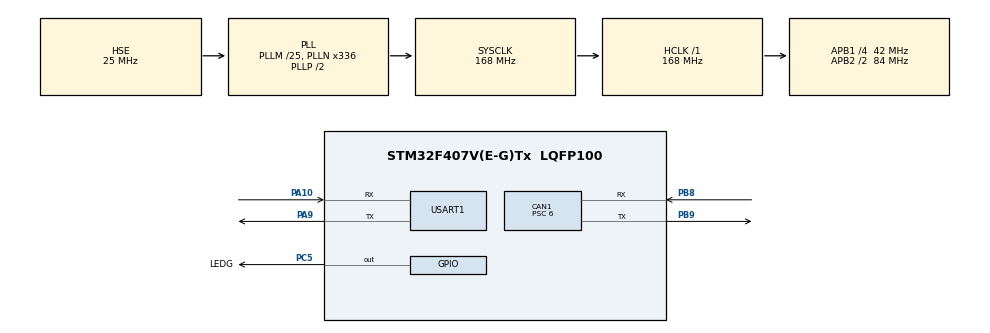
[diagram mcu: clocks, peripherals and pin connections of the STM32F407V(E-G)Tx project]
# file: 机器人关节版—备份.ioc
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CAN1.BS1=CAN_BS1_11TQ
CAN1.BS2=CAN_BS2_2TQ
CAN1.CalculateBaudRate=500000
CAN1.CalculateTimeBit=2000
CAN1.CalculateTimeQuantum=142.85714285714286
CAN1.Mode=CAN_MODE_NORMAL
CAN1.NART=ENABLE
CAN1.Prescaler=6
CAN1.TXFP=ENABLE
FREERTOS.Mutexes01=UartMutex,Dynamic,NULL,Available
FREERTOS.Queues01=MotionQueue,5,uint16_t,0,Dynamic,NULL,NULL;CanQueue,20,uint16_t,0,Dynamic,NULL,NULL
FREERTOS.Tasks01=defaultTask,24,128,StartDefaultTask,Default,NULL,Dynamic,NULL,NULL;CmdTask,32,1024,StartTask02,Default,NULL,Dynamic,NULL,NULL;TrajTask,40,1536,StartTask03,Default,NULL,Dynamic,NULL,NULL;CanRxTask,32,768,StartTask04,Default,NULL,Dynamic,NULL,NULL;DefaultTask,24,512,StartTask05,Default,NULL,Dynamic,NULL,NULL
Mcu.Family=STM32F4
Mcu.Name=STM32F407V(E-G)Tx
Mcu.Package=LQFP100
NVIC.CAN1_RX0_IRQn=true\:5\:0\:false\:false\:true\:true\:true\:true\:true
NVIC.PriorityGroup=NVIC_PRIORITYGROUP_4
NVIC.TIM3_IRQn=true\:5\:0\:false\:false\:true\:true\:true\:true\:true
NVIC.USART1_IRQn=true\:5\:0\:false\:false\:true\:true\:true\:true\:true
PA10.Mode=Asynchronous
PA10.Signal=USART1_RX
PA13.Mode=Serial_Wire
PA13.Signal=SYS_JTMS-SWDIO
PA14.Mode=Serial_Wire
PA14.Signal=SYS_JTCK-SWCLK
PA9.Mode=Asynchronous
PA9.Signal=USART1_TX
PB8.Mode=CAN_Activate
PB8.Signal=CAN1_RX
PB9.Mode=CAN_Activate
PB9.Signal=CAN1_TX
PC14-OSC32_IN.Mode=LSE-External-Oscillator
PC14-OSC32_IN.Signal=RCC_OSC32_IN
PC15-OSC32_OUT.Mode=LSE-External-Oscillator
PC15-OSC32_OUT.Signal=RCC_OSC32_OUT
PC5.GPIO_Label=LEDG
PC5.PinState=GPIO_PIN_SET
PC5.Signal=GPIO_Output
PH0-OSC_IN.Mode=HSE-External-Oscillator
PH0-OSC_IN.Signal=RCC_OSC_IN
PH1-OSC_OUT.Mode=HSE-External-Oscillator
PH1-OSC_OUT.Signal=RCC_OSC_OUT
ProjectManager.HeapSize=0x200
ProjectManager.StackSize=0x400
ProjectManager.TargetToolchain=STM32CubeIDE
RCC.48MHZClocksFreq_Value=84000000
RCC.AHBFreq_Value=168000000
RCC.APB1CLKDivider=RCC_HCLK_DIV4
RCC.APB1Freq_Value=42000000
RCC.APB1TimFreq_Value=84000000
RCC.APB2CLKDivider=RCC_HCLK_DIV2
RCC.APB2Freq_Value=84000000
RCC.APB2TimFreq_Value=168000000
RCC.CortexFreq_Value=168000000
RCC.HCLKFreq_Value=168000000
RCC.HSE_VALUE=25000000
RCC.HSI_VALUE=16000000
RCC.PLLM=25
RCC.PLLN=336
RCC.PLLSourceVirtual=RCC_PLLSOURCE_HSE
RCC.SYSCLKFreq_VALUE=168000000
RCC.SYSCLKSource=RCC_SYSCLKSOURCE_PLLCLK
RCC.VCOOutputFreq_Value=336000000
TIM3.AutoReloadPreload=TIM_AUTORELOAD_PRELOAD_ENABLE
TIM3.Period=19999
TIM3.Prescaler=83
USART1.VirtualMode=VM_ASYNC
VP_FREERTOS_VS_CMSIS_V2.Mode=CMSIS_V2
VP_TIM3_VS_ClockSourceINT.Mode=Internal
board=custom

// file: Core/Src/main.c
/* USER CODE BEGIN Header */
/**
  ******************************************************************************
  * @file           : main.c
  * @brief          : Main program body
  ******************************************************************************
  * @attention
  *
  * Copyright (c) 2026 STMicroelectronics.
  * All rights reserved.
  *
  * This software is licensed under terms that can be found in the LICENSE file
  * in the root directory of this software component.
  * If no LICENSE file comes with this software, it is provided AS-IS.
  *
  ******************************************************************************
  */
/* USER CODE END Header */

#include "main.h"
#include "can.h"
#include "usart.h"
#include "gpio.h"
#include "Emm_V5.h"
#include "MotorControl.h"
#include "robot_kinematics.h"
#include "app_robot.h"
#include "tim.h"
#include "trajectory_planner.h"
#include "freertos.h"
#include "cmsis_os2.h"
#include <string.h>
#include <stdlib.h>
#include <stdio.h>
#include <math.h>

/* USER CODE BEGIN PV */
/* 关节配置示例（6轴） */
static joint_motor_t g_joint_cfg[6] = {
    {1, 0, 50.0f, 0.0f, 360.0f, 0.0f},   // J1
    {2, 1, 51.0f, -90.0f, 90.0f, 0.0f},   // J2
    {3, 0, 51.0f, 0.0f, 180.0f, 0.0f},    // J3
    {4, 0, 51.0f, 0.0f, 360.0f, 0.0f},    // J4
    {5, 1, 27.0f, -90.0f, 0.0f, 0.0f},    // J5
    {6, 0, 51.0f, 0.0f, 360.0f, 0.0f},    // J6
};
/* USER CODE END PV */

void SystemClock_Config(void);
/* USER CODE BEGIN PFP */
static void print_can_error(const char *tag)
{
    uint32_t e = HAL_CAN_GetError(&hcan1);
    LOG("[%s] CAN_ERR=0x%08lX\r\n", tag, e);
}
void MX_FREERTOS_Init(void);
/* USER CODE END PFP */

/* USER CODE BEGIN 0 */

int __io_putchar(int ch)
{
    HAL_UART_Transmit(&huart1, (uint8_t *)&ch, 1, HAL_MAX_DELAY);
    return ch;
}

/* USER CODE END 0 */

int main(void)
{
  /* MCU Configuration--------------------------------------------------------*/
  HAL_Init();
  SystemClock_Config();

  /* Initialize all configured peripherals */
  MX_GPIO_Init();
  MX_CAN1_Init();
  MX_USART1_UART_Init();
  MX_TIM3_Init();
  uart1_rx_start();
  /* 启动 TIM3 20ms 周期中断 */
  if (HAL_TIM_Base_Start_IT(&htim3) != HAL_OK)
  {
      LOG("[ERR] TIM3 start IT failed\r\n");
      Error_Handler();
  }

  /* 轨迹模块初始化 */
  trajectory_init(0.02f); // 20ms

  /* CAN 初始化 */
  USER_CAN1_Filter_Init();

  if (HAL_CAN_Start(&hcan1) != HAL_OK)
  {
      LOG("[ERR] HAL_CAN_Start failed\r\n");
      Error_Handler();
  }

  if (HAL_CAN_ActivateNotification(&hcan1, CAN_IT_RX_FIFO0_MSG_PENDING) != HAL_OK)
  {
      LOG("[ERR] CAN RX IRQ enable failed\r\n");
      Error_Handler();
  }

  print_can_error("AfterCANStart");
  HAL_Delay(300);

  /* 初始化关节封装层 */
  joint_motor_init_all(g_joint_cfg, 6);

  /* 使能六轴 */
  for (uint8_t i = 0; i < 6; i++)
  {
      joint_motor_enable(i, true);
      HAL_Delay(50);
  }

  /* 清除六轴堵转保护 */
  for (uint8_t addr = 1; addr <= 6; addr++)
  {
      Emm_V5_Reset_Clog_Pro(addr);
      HAL_Delay(50);
  }

  /* 启动 FreeRTOS */
  osKernelInitialize();
  MX_FREERTOS_Init();
  osKernelStart();

  /* Should never get here */
  while (1)
  {
  }
}

void SystemClock_Config(void)
{
  RCC_OscInitTypeDef RCC_OscInitStruct = {0};
  RCC_ClkInitTypeDef RCC_ClkInitStruct = {0};

  __HAL_RCC_PWR_CLK_ENABLE();
  __HAL_PWR_VOLTAGESCALING_CONFIG(PWR_REGULATOR_VOLTAGE_SCALE1);

  RCC_OscInitStruct.OscillatorType = RCC_OSCILLATORTYPE_HSE;
  RCC_OscInitStruct.HSEState = RCC_HSE_ON;
  RCC_OscInitStruct.PLL.PLLState = RCC_PLL_ON;
  RCC_OscInitStruct.PLL.PLLSource = RCC_PLLSOURCE_HSE;
  RCC_OscInitStruct.PLL.PLLM = 25;
  RCC_OscInitStruct.PLL.PLLN = 336;
  RCC_OscInitStruct.PLL.PLLP = RCC_PLLP_DIV2;
  RCC_OscInitStruct.PLL.PLLQ = 4;
  if (HAL_RCC_OscConfig(&RCC_OscInitStruct) != HAL_OK)
  {
    Error_Handler();
  }

  RCC_ClkInitStruct.ClockType = RCC_CLOCKTYPE_HCLK | RCC_CLOCKTYPE_SYSCLK
                              | RCC_CLOCKTYPE_PCLK1 | RCC_CLOCKTYPE_PCLK2;
  RCC_ClkInitStruct.SYSCLKSource = RCC_SYSCLKSOURCE_PLLCLK;
  RCC_ClkInitStruct.AHBCLKDivider = RCC_SYSCLK_DIV1;
  RCC_ClkInitStruct.APB1CLKDivider = RCC_HCLK_DIV4;
  RCC_ClkInitStruct.APB2CLKDivider = RCC_HCLK_DIV2;

  if (HAL_RCC_ClockConfig(&RCC_ClkInitStruct, FLASH_LATENCY_5) != HAL_OK)
  {
    Error_Handler();
  }
}

/* USER CODE BEGIN 4 */

/* 这里后面可以放一些 main 专属但暂时未迁移的辅助函数 */

/* USER CODE END 4 */

void Error_Handler(void)
{
  __disable_irq();
  while (1)
  {
  }
}

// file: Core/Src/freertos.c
/* USER CODE BEGIN Header */
/**
  ******************************************************************************
  * File Name          : freertos.c
  * Description        : Code for freertos applications
  ******************************************************************************
  * @attention
  *
  * Copyright (c) 2026 STMicroelectronics.
  * All rights reserved.
  *
  * This software is licensed under terms of LICENSE file in the root directory
  * of this software component.
  * If no LICENSE file comes with this software, it is provided AS-IS.
  *
  ******************************************************************************
  */
/* USER CODE END Header */

#include "FreeRTOS.h"
#include "task.h"
#include "main.h"
#include "cmsis_os.h"

/* USER CODE BEGIN Includes */
#include "app_robot.h"
#include "usart.h"
#include "robot_kinematics.h"
#include "trajectory_planner.h"
#include "MotorControl.h"
#include "can.h"
#include <string.h>
#include <stdio.h>
#include <stdbool.h>
/* USER CODE END Includes */

/* USER CODE BEGIN PTD */

typedef enum {
  MOTION_JOINT = 0,
  MOTION_POSE,
  MOTION_LINE
} motion_type_t;

typedef struct {
  motion_type_t type;
  union {
    struct {
      float q[JOINT_NUM];
    } joint;

    struct {
      pose_t target;
    } pose;

    struct {
      pose_t p0;
      pose_t p1;
      float T;
    } line;
  } u;
} motion_req_t;

/* USER CODE END PTD */

/* USER CODE BEGIN PD */
#define MOTION_QUEUE_LEN  5
#define CAN_QUEUE_LEN     20
#define ENABLE_J1_REL_TEST  1
/* USER CODE END PD */

/* USER CODE BEGIN Variables */

extern volatile char uart1_line[UART1_RX_BUFF_SIZE];
extern volatile bool uart1_line_ready;
extern volatile uint8_t g_traj_tick;

osThreadId_t defaultTaskHandle;
osThreadId_t CmdTaskHandle;
osThreadId_t TrajTaskHandle;
osThreadId_t CanRxTaskHandle;

osMessageQueueId_t MotionQueueHandle;
osMessageQueueId_t CanQueueHandle;

osMutexId_t UartMutexHandle;

const osThreadAttr_t defaultTask_attributes = {
  .name = "defaultTask",
  .stack_size = 256 * 4,
  .priority = (osPriority_t)osPriorityNormal,
};

const osThreadAttr_t CmdTask_attributes = {
  .name = "CmdTask",
  .stack_size = 1024 * 4,
  .priority = (osPriority_t)osPriorityAboveNormal,
};

const osThreadAttr_t TrajTask_attributes = {
  .name = "TrajTask",
  .stack_size = 1536 * 4,
  .priority = (osPriority_t)osPriorityHigh,
};

const osThreadAttr_t CanRxTask_attributes = {
  .name = "CanRxTask",
  .stack_size = 768 * 4,
  .priority = (osPriority_t)osPriorityAboveNormal,
};

const osMessageQueueAttr_t MotionQueue_attributes = {
  .name = "MotionQueue"
};

const osMessageQueueAttr_t CanQueue_attributes = {
  .name = "CanQueue"
};

const osMutexAttr_t UartMutex_attributes = {
  .name = "UartMutex"
};

/* USER CODE END Variables */

/* USER CODE BEGIN FunctionPrototypes */
void StartDefaultTask(void *argument);
void StartCmdTask(void *argument);
void StartTrajTask(void *argument);
void StartCanRxTask(void *argument);
void UartPrint(const char *str);

/* USER CODE END FunctionPrototypes */

void MX_FREERTOS_Init(void)
{
  UartMutexHandle = osMutexNew(&UartMutex_attributes);

  MotionQueueHandle = osMessageQueueNew(MOTION_QUEUE_LEN, sizeof(motion_req_t), &MotionQueue_attributes);
  CanQueueHandle    = osMessageQueueNew(CAN_QUEUE_LEN, sizeof(can_rx_msg_t), &CanQueue_attributes);

  defaultTaskHandle = osThreadNew(StartDefaultTask, NULL, &defaultTask_attributes);
  CmdTaskHandle     = osThreadNew(StartCmdTask, NULL, &CmdTask_attributes);
  TrajTaskHandle    = osThreadNew(StartTrajTask, NULL, &TrajTask_attributes);
  CanRxTaskHandle   = osThreadNew(StartCanRxTask, NULL, &CanRxTask_attributes);
}

void StartDefaultTask(void *argument)
{
  for(;;)
  {
    osDelay(1000);
  }
}

void StartCmdTask(void *argument)
{
  motion_req_t req;
  float q[6];
  pose_t target;

  for(;;)
  {
    if (uart1_line_ready)
    {
      uart1_line_ready = false;

      if (app_parse_cmd_angles((const char*)uart1_line, q))
      {
        req.type = MOTION_JOINT;
        memcpy(req.u.joint.q, q, sizeof(q));

        if (osMessageQueuePut(MotionQueueHandle, &req, 0, 0) == osOK)
        {
          UartPrint("[CmdTask] JOINT motion queued");
        }
        else
        {
          UartPrint("[CmdTask] MotionQueue full");
        }
      }
      else if (strncmp((const char*)uart1_line, "LINEMOVE", 8) == 0)
      {
        float x1, y1, z1, rx1, ry1, rz1;
        float x2, y2, z2, rx2, ry2, rz2;
        float T;

        int n = sscanf((const char*)uart1_line,
                       "LINEMOVE %f %f %f %f %f %f %f %f %f %f %f %f %f",
                       &x1, &y1, &z1, &rx1, &ry1, &rz1,
                       &x2, &y2, &z2, &rx2, &ry2, &rz2,
                       &T);

        if (n == 13)
        {
          req.type = MOTION_LINE;

          req.u.line.p0.x = x1;
          req.u.line.p0.y = y1;
          req.u.line.p0.z = z1;
          req.u.line.p0.roll = rx1;
          req.u.line.p0.pitch = ry1;
          req.u.line.p0.yaw = rz1;

          req.u.line.p1.x = x2;
          req.u.line.p1.y = y2;
          req.u.line.p1.z = z2;
          req.u.line.p1.roll = rx2;
          req.u.line.p1.pitch = ry2;
          req.u.line.p1.yaw = rz2;

          req.u.line.T = T;

          pose_set_rpy_deg(&req.u.line.p0);
          pose_set_rpy_deg(&req.u.line.p1);

          if (osMessageQueuePut(MotionQueueHandle, &req, 0, 0) == osOK)
          {
            UartPrint("[CmdTask] LINE motion queued");
          }
          else
          {
            UartPrint("[CmdTask] MotionQueue full");
          }
        }
        else
        {
          UartPrint("[CmdTask] LINEMOVE format error");
        }
      }
      else if (app_parse_cmd_pose((const char*)uart1_line, &target))
      {
        req.type = MOTION_POSE;
        req.u.pose.target = target;
        pose_set_rpy_deg(&req.u.pose.target);

        if (osMessageQueuePut(MotionQueueHandle, &req, 0, 0) == osOK)
        {
          UartPrint("[CmdTask] POSE motion queued");
        }
        else
        {
          UartPrint("[CmdTask] MotionQueue full");
        }
      }
      else
      {
        UartPrint("[CmdTask] unknown command");
      }
    }

    osDelay(1);
  }
}

void StartTrajTask(void *argument)
{
  motion_req_t req;

  for(;;)
  {
    if (osMessageQueueGet(MotionQueueHandle, &req, NULL, osWaitForever) == osOK)
    {
            UartPrint("[TrajTask] state=BUSY");

      if (req.type == MOTION_JOINT)
      {
        float q_cur[6];
        joint_motor_sync_all(200);
        for (int i = 0; i < 6; i++)
        {
          q_cur[i] = joint_motor_get_angle((uint8_t)i);
        }

        app_motion_cfg_t mc = {
          .steps = 80,
          .total_time_s = 4.0f,
          .vel_deg_s = 30.0f,
          .acc = 12,
          .sync_every = 1,   // ✅ 每段回读
        };
#if ENABLE_J1_REL_TEST
  UartPrint("[TEST] J1 +10deg rel");

  joint_motor_sync_all(200);
  float j1_before = joint_motor_get_angle(0);
  LOG("[TEST] j1_before=%.2f\r\n", j1_before);

  joint_motor_move_rel_deg(0, 10.0f, 30.0f, 25);  // J1 相对 +10deg
  osDelay(1500);                                   // 等它走完（先给足时间）

  joint_motor_sync_all(200);
  float j1_after = joint_motor_get_angle(0);
  LOG("[TEST] j1_after=%.2f delta=%.2f\r\n", j1_after, (j1_after - j1_before));
#endif
        app_move_joints_scurve_stable(q_cur, req.u.joint.q, &mc);

        UartPrint("[TrajTask] JOINT motion done");
      }
      else if (req.type == MOTION_POSE)
      {
        float q_cur[6], q_out[6];
        joint_motor_sync_all(200);
        for (int i = 0; i < 6; i++)
        {
          q_cur[i] = joint_motor_get_angle((uint8_t)i);
        }

        int iter = 0;
        float pos_err = 0.0f, ori_err = 0.0f;
        bool ok = ikine_deg_ex(&req.u.pose.target, q_cur, q_out, &iter, &pos_err, &ori_err);

        if (ok)
        {
          app_motion_cfg_t mc = {
            .steps = 80,
            .total_time_s = 2.0f,
            .vel_deg_s = 60.0f,
            .acc = 25,
            .sync_every = 8,
          };

          app_move_joints_scurve_stable(q_cur, q_out, &mc);

          UartPrint("[TrajTask] POSE motion done");
        }
        else
        {

          UartPrint("[TrajTask] POSE IK failed");
        }
      }
      else if (req.type == MOTION_LINE)
      {
        bool ok = start_linear_move(&req.u.line.p0, &req.u.line.p1, req.u.line.T);
        if (ok)
        {
          while (trajectory_get_state() == TRAJ_RUNNING)
          {
            if (g_traj_tick)
            {
              g_traj_tick = 0;
              trajectory_timer_callback();
            }
            osDelay(1);
          }

          UartPrint("[TrajTask] LINE motion done");
        }
        else
        {

          UartPrint("[TrajTask] LINE motion start failed");
        }
      }
      else
      {

        UartPrint("[TrajTask] unknown motion type");
      }
    }
  }
}

void StartCanRxTask(void *argument)
{
  can_rx_msg_t msg;

  for(;;)
  {
    if (osMessageQueueGet(CanQueueHandle, &msg, NULL, osWaitForever) == osOK)
    {
      joint_motor_on_can_frame(msg.extid, msg.data, msg.dlc);
    }
  }
}

void UartPrint(const char *str)
{
  osMutexAcquire(UartMutexHandle, osWaitForever);
  LOG("%s\r\n", str);
  osMutexRelease(UartMutexHandle);
}
